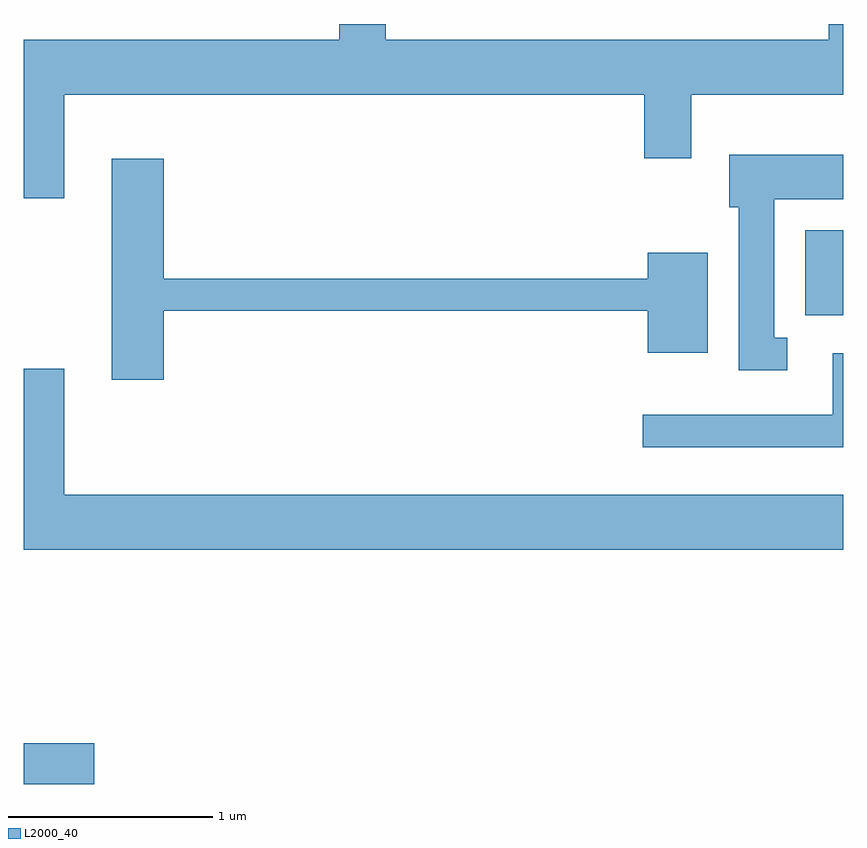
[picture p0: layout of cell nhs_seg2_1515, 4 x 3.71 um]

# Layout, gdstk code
import gdstk
lib = gdstk.Library(unit=1e-6, precision=1e-09)
def R(c, l, rs):  # rectangles x0, y0, x1, y1
    for r in rs: c.add(gdstk.rectangle(r[:2], r[2:], *l))
def P(c, l, *ps):  # polygons
    for p in ps: c.add(gdstk.Polygon(p, *l))
L2000_40 = (2000, 40)

nhs_seg2_1515 = lib.new_cell('nhs_seg2_1515')
R(nhs_seg2_1515, L2000_40, [(229.611,1016.091,229.954,1016.289), (233.426,1018.381,233.611,1018.794)])
P(nhs_seg2_1515, L2000_40, [(229.809,1019.456),(232.641,1019.456),(232.641,1019.146),(232.869,1019.146),(232.869,1019.456),(233.611,1019.456),(233.611,1019.802),(233.541,1019.802),(233.541,1019.724),(231.379,1019.724),(231.379,1019.802),(231.151,1019.802),(231.151,1019.724),(229.611,1019.724),(229.611,1018.951),(229.809,1018.951)],
  [(233.338,1018.269),(233.274,1018.269),(233.274,1018.946),(233.611,1018.946),(233.611,1019.164),(233.056,1019.164),(233.056,1018.906),(233.101,1018.906),(233.101,1018.111),(233.338,1018.111)],
  [(230.294,1018.401),(232.656,1018.401),(232.656,1018.196),(232.949,1018.196),(232.949,1018.684),(232.656,1018.684),(232.656,1018.559),(230.294,1018.559),(230.294,1019.144),(230.041,1019.144),(230.041,1018.066),(230.294,1018.066)],
  [(233.611,1018.194),(233.561,1018.194),(233.561,1017.894),(232.633,1017.894),(232.633,1017.736),(233.611,1017.736)],
  [(233.611,1017.504),(229.809,1017.504),(229.809,1018.119),(229.611,1018.119),(229.611,1017.236),(233.611,1017.236)])

lib.write_gds('nhs_seg2_1515.gds')
